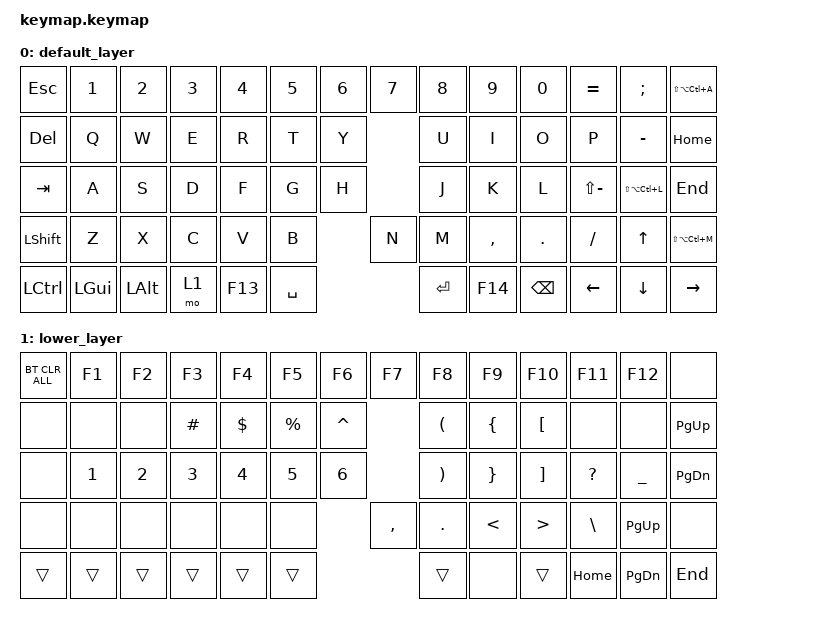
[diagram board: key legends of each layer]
#include <behaviors.dtsi>
#include <dt-bindings/zmk/bt.h>
#include <dt-bindings/zmk/keys.h>

/ {
    keymap {
        compatible = "zmk,keymap";

        // =====================================================================
        // Layer 0: Base (US QWERTY)
        // =====================================================================
        //
        // LEFT                                          RIGHT
        // ,-----------------------------------------. ,---------------------------------------------.
        // | ESC/` |  1  |  2  |  3  |  4  |  5  | 6 | |  7  |  8  |  9  |  0  |  -  |  =  | BSPC  |
        // |-------+-----+-----+-----+-----+-----+---| |-----+-----+-----+-----+-----+-------------|
        // | TAB   |  Q  |  W  |  E  |  R  |  T  | Y | |  U  |  I  |  O  |  P  |  [  |  ]          |
        // |-------+-----+-----+-----+-----+-----+---| |-----+-----+-----+-----+-----+-------------|
        // | CTRL  |  A  |  S  |  D  |  F  |  G  | H | |  J  |  K  |  L  |  ;  |  '  |  \          |
        // |-------+-----+-----+-----+-----+-----|   | |-----+-----+-----+-----+-----+-----+-------|
        // | SHIFT |  Z  |  X  |  C  |  V  |  B  |   | |  N  |  M  |  ,  |  .  |  /  | UP  | RSHFT |
        // |-------+-----+-----+-----+-----+-----|   | |-----+-----+-----+-----+-----+-----+-------|
        // | CTRL  | GUI | ALT |LOWER| SPC | SPC |   | | ENT |BSPC |RAISE| LEFT| DOWN|RIGHT|       |
        // `-----------------------------------------' `---------------------------------------------'
        //

        default_layer {
            bindings = <
&kp ESCAPE  &kp N1    &kp N2    &kp N3  &kp N4   &kp N5     &kp N6  &kp N7  &kp N8   &kp N9     &kp N0         &kp EQUAL      &kp SEMICOLON      &kp LS(LA(LC(A)))
&kp DELETE  &kp Q     &kp W     &kp E   &kp R    &kp T      &kp Y           &kp U    &kp I      &kp O          &kp P          &kp MINUS          &kp HOME
&kp TAB     &kp A     &kp S     &kp D   &kp F    &kp G      &kp H           &kp J    &kp K      &kp L          &kp LS(MINUS)  &kp LS(LA(LC(L)))  &kp END
&kp LSHFT   &kp Z     &kp X     &kp C   &kp V    &kp B              &kp N   &kp M    &kp COMMA  &kp DOT        &kp FSLH       &kp UP             &kp LS(LA(LC(M)))
&kp LCTRL   &kp LGUI  &kp LALT  &mo 1   &kp F13  &kp SPACE                  &kp RET  &kp F14    &kp BACKSPACE  &kp LEFT       &kp DOWN           &kp RIGHT
            >;
        };

        // =====================================================================
        // Layer 1: Lower (F-keys, Symbols, Numbers)
        // =====================================================================
        //
        // LEFT                                          RIGHT
        // ,-----------------------------------------. ,---------------------------------------------.
        // |   `   | F1  | F2  | F3  | F4  | F5  | F6| | F7  | F8  | F9  | F10 | F11 | F12 |  DEL  |
        // |-------+-----+-----+-----+-----+-----+---| |-----+-----+-----+-----+-----+-------------|
        // |       |  !  |  @  |  #  |  $  |  %  | ^ | |  &  |  *  |  (  |  )  |  {  |  }          |
        // |-------+-----+-----+-----+-----+-----+---| |-----+-----+-----+-----+-----+-------------|
        // |       |  1  |  2  |  3  |  4  |  5  | 6 | |  7  |  8  |  9  |  0  |  _  |  +          |
        // |-------+-----+-----+-----+-----+-----|   | |-----+-----+-----+-----+-----+-----+-------|
        // |       |     |     |     |     |     |   | |     |     |  <  |  >  |  ?  | PgUp|       |
        // |-------+-----+-----+-----+-----+-----|   | |-----+-----+-----+-----+-----+-----+-------|
        // |       |     |     |#####|     |     |   | |     | DEL |     | Home| PgDn| End |       |
        // `-----------------------------------------' `---------------------------------------------'
        //

        lower_layer {
            bindings = <
&bt BT_CLR_ALL  &kp F1  &kp F2  &kp F3    &kp F4    &kp F5     &kp F6     &kp F7     &kp F8                 &kp F9           &kp F10            &kp F11        &kp F12    &none
&none           &none   &none   &kp HASH  &kp DLLR  &kp PRCNT  &kp CARET             &kp LEFT_PARENTHESIS   &kp LEFT_BRACE   &kp LEFT_BRACKET   &none          &none      &kp PG_UP
&none           &kp N1  &kp N2  &kp N3    &kp N4    &kp N5     &kp N6                &kp RIGHT_PARENTHESIS  &kp RIGHT_BRACE  &kp RIGHT_BRACKET  &kp QUESTION   &kp UNDER  &kp PAGE_DOWN
&none           &none   &none   &none     &none     &none                 &kp COMMA  &kp PERIOD             &kp LT           &kp GT             &kp BACKSLASH  &kp PG_UP  &none
&trans          &trans  &trans  &trans    &trans    &trans                           &trans                 &none            &trans             &kp HOME       &kp PG_DN  &kp END
            >;
        };

        // =====================================================================
        // Layer 2: Raise (Navigation, Media, Bluetooth)
        // =====================================================================
        //
        // LEFT                                          RIGHT
        // ,-----------------------------------------. ,---------------------------------------------.
        // |       | BT0 | BT1 | BT2 | BT3 | BT4 |CLR| |     |     |     |     |     |     |       |
        // |-------+-----+-----+-----+-----+-----+---| |-----+-----+-----+-----+-----+-------------|
        // |       |     |     |     |     |     |   | | Home| PgDn| PgUp| End |     |             |
        // |-------+-----+-----+-----+-----+-----+---| |-----+-----+-----+-----+-----+-------------|
        // |       |     | Mute| Vol-| Vol+|     |   | | LEFT| DOWN|  UP |RIGHT|     |             |
        // |-------+-----+-----+-----+-----+-----|   | |-----+-----+-----+-----+-----+-----+-------|
        // |       |     | Prev| Play| Next|     |   | |     |     |     |     |     |     |       |
        // |-------+-----+-----+-----+-----+-----|   | |-----+-----+-----+-----+-----+-----+-------|
        // |       |     |     |     |     |     |   | |     |     |#####|     |     |     |       |
        // `-----------------------------------------' `---------------------------------------------'
        //
    };
};
